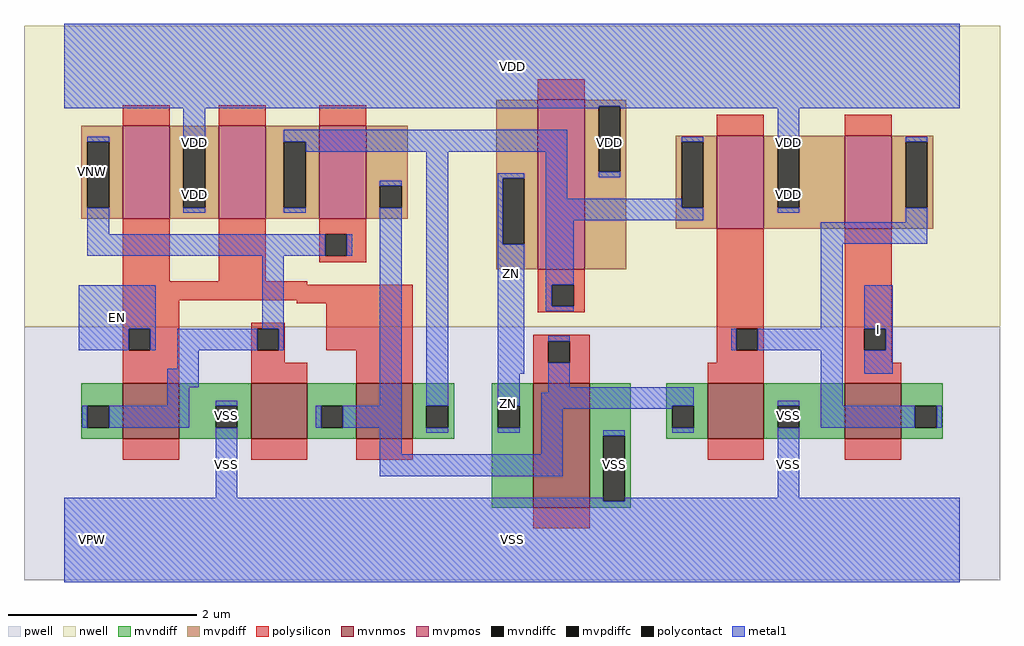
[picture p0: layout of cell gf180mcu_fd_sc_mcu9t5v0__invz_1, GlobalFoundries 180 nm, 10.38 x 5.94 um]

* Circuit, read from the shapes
.subckt gf180mcu_fd_sc_mcu9t5v0__invz_1 EN I ZN VDD VNW VPW VSS
XM1 VSS EN n1 VPW nfet_06v0 w=0.59u l=0.6u
XM2 n2 n1 VSS VPW nfet_06v0 w=0.59u l=0.6u
XM3 n3 EN n2 VPW nfet_06v0 w=0.59u l=0.6u
XM4 VSS n2 ZN VPW nfet_06v0 w=1.32u l=0.6u
XM5 VSS n4 n2 VPW nfet_06v0 w=0.59u l=0.6u
XM6 n4 I VSS VPW nfet_06v0 w=0.59u l=0.6u
XM7 VDD EN n1 VNW pfet_06v0 w=0.99u l=0.5u
XM8 n3 EN VDD VNW pfet_06v0 w=0.99u l=0.5u
XM9 n2 n1 n3 VNW pfet_06v0 w=0.99u l=0.5u
XM10 VDD n3 ZN VNW pfet_06v0 w=1.8u l=0.5u
XM11 VDD n4 n3 VNW pfet_06v0 w=0.99u l=0.5u
XM12 n4 I VDD VNW pfet_06v0 w=0.99u l=0.5u
.ends

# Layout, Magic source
magic
tech gf180mcuD
magscale 1 10
<< nwell >>
rect -86 453 1990 1094
<< pwell >>
rect -86 -86 1990 453
<< mvnmos >>
rect 124 215 244 333
rect 397 215 517 333
rect 621 215 741 333
rect 997 69 1117 333
rect 1368 215 1488 333
rect 1660 215 1780 333
<< mvpmos >>
rect 124 683 224 881
rect 328 683 428 881
rect 542 683 642 881
rect 1007 576 1107 936
rect 1388 662 1488 860
rect 1660 662 1760 860
<< mvndiff >>
rect 36 285 124 333
rect 36 239 49 285
rect 95 239 124 285
rect 36 215 124 239
rect 244 285 397 333
rect 244 239 322 285
rect 368 239 397 285
rect 244 215 397 239
rect 517 285 621 333
rect 517 239 546 285
rect 592 239 621 285
rect 517 215 621 239
rect 741 285 829 333
rect 741 239 770 285
rect 816 239 829 285
rect 741 215 829 239
rect 909 285 997 333
rect 909 239 922 285
rect 968 239 997 285
rect 909 69 997 239
rect 1117 222 1205 333
rect 1117 82 1146 222
rect 1192 82 1205 222
rect 1280 285 1368 333
rect 1280 239 1293 285
rect 1339 239 1368 285
rect 1280 215 1368 239
rect 1488 285 1660 333
rect 1488 239 1517 285
rect 1563 239 1660 285
rect 1488 215 1660 239
rect 1780 285 1868 333
rect 1780 239 1809 285
rect 1855 239 1868 285
rect 1780 215 1868 239
rect 1117 69 1205 82
<< mvpdiff >>
rect 36 847 124 881
rect 36 707 49 847
rect 95 707 124 847
rect 36 683 124 707
rect 224 847 328 881
rect 224 707 253 847
rect 299 707 328 847
rect 224 683 328 707
rect 428 847 542 881
rect 428 707 467 847
rect 513 707 542 847
rect 428 683 542 707
rect 642 753 730 881
rect 642 707 671 753
rect 717 707 730 753
rect 642 683 730 707
rect 919 769 1007 936
rect 919 629 932 769
rect 978 629 1007 769
rect 919 576 1007 629
rect 1107 923 1195 936
rect 1107 783 1136 923
rect 1182 783 1195 923
rect 1107 576 1195 783
rect 1300 847 1388 860
rect 1300 707 1313 847
rect 1359 707 1388 847
rect 1300 662 1388 707
rect 1488 847 1660 860
rect 1488 707 1517 847
rect 1563 707 1660 847
rect 1488 662 1660 707
rect 1760 847 1848 860
rect 1760 707 1789 847
rect 1835 707 1848 847
rect 1760 662 1848 707
<< mvndiffc >>
rect 49 239 95 285
rect 322 239 368 285
rect 546 239 592 285
rect 770 239 816 285
rect 922 239 968 285
rect 1146 82 1192 222
rect 1293 239 1339 285
rect 1517 239 1563 285
rect 1809 239 1855 285
<< mvpdiffc >>
rect 49 707 95 847
rect 253 707 299 847
rect 467 707 513 847
rect 671 707 717 753
rect 932 629 978 769
rect 1136 783 1182 923
rect 1313 707 1359 847
rect 1517 707 1563 847
rect 1789 707 1835 847
<< polysilicon >>
rect 1007 936 1107 980
rect 124 881 224 925
rect 328 881 428 925
rect 542 881 642 925
rect 124 550 224 683
rect 328 550 428 683
rect 542 650 642 683
rect 542 604 555 650
rect 601 604 642 650
rect 542 591 642 604
rect 1388 860 1488 904
rect 1660 860 1760 904
rect 124 543 517 550
rect 1007 543 1107 576
rect 124 510 741 543
rect 124 449 244 510
rect 494 503 741 510
rect 124 403 137 449
rect 183 403 244 449
rect 124 333 244 403
rect 397 449 469 462
rect 397 403 410 449
rect 456 403 469 449
rect 557 404 741 503
rect 1007 497 1037 543
rect 1083 497 1107 543
rect 1007 484 1107 497
rect 1388 449 1488 662
rect 397 377 469 403
rect 397 333 517 377
rect 621 333 741 404
rect 997 423 1117 436
rect 997 377 1029 423
rect 1075 377 1117 423
rect 1388 403 1429 449
rect 1475 403 1488 449
rect 1388 377 1488 403
rect 997 333 1117 377
rect 1368 333 1488 377
rect 1660 449 1760 662
rect 1660 403 1701 449
rect 1747 403 1760 449
rect 1660 377 1760 403
rect 1660 333 1780 377
rect 124 171 244 215
rect 397 171 517 215
rect 621 171 741 215
rect 1368 171 1488 215
rect 1660 171 1780 215
rect 997 25 1117 69
<< polycontact >>
rect 555 604 601 650
rect 137 403 183 449
rect 410 403 456 449
rect 1037 497 1083 543
rect 1029 377 1075 423
rect 1429 403 1475 449
rect 1701 403 1747 449
<< metal1 >>
rect 0 923 1904 1098
rect 0 918 1136 923
rect 49 847 95 858
rect 49 650 95 707
rect 253 847 299 918
rect 253 696 299 707
rect 467 847 1070 872
rect 513 826 1070 847
rect 467 696 513 707
rect 671 753 717 764
rect 49 604 555 650
rect 601 604 612 650
rect 30 449 194 542
rect 421 449 467 604
rect 30 403 137 449
rect 183 403 194 449
rect 240 403 410 449
rect 456 403 467 449
rect 240 364 286 403
rect 219 325 286 364
rect 219 285 265 325
rect 38 239 49 285
rect 95 239 265 285
rect 322 285 368 296
rect 671 285 717 707
rect 535 239 546 285
rect 592 239 717 285
rect 322 90 368 239
rect 671 182 717 239
rect 770 285 816 826
rect 770 228 816 239
rect 922 769 978 780
rect 922 629 932 769
rect 922 354 978 629
rect 1024 726 1070 826
rect 1182 918 1904 923
rect 1136 772 1182 783
rect 1313 847 1359 858
rect 1024 707 1313 726
rect 1024 680 1359 707
rect 1517 847 1563 918
rect 1517 696 1563 707
rect 1789 847 1835 858
rect 1024 543 1083 680
rect 1789 676 1835 707
rect 1024 497 1037 543
rect 1024 486 1083 497
rect 1609 630 1835 676
rect 1609 449 1655 630
rect 1029 423 1075 434
rect 1418 403 1429 449
rect 1475 403 1655 449
rect 922 285 968 354
rect 1029 325 1075 377
rect 1029 313 1339 325
rect 922 228 968 239
rect 1014 285 1339 313
rect 1014 279 1293 285
rect 1014 182 1060 279
rect 671 136 1060 182
rect 1146 222 1192 233
rect 1293 228 1339 239
rect 1517 285 1563 296
rect 1609 285 1655 403
rect 1701 449 1762 542
rect 1747 403 1762 449
rect 1701 354 1762 403
rect 1609 239 1809 285
rect 1855 239 1866 285
rect 0 82 1146 90
rect 1517 90 1563 239
rect 1192 82 1904 90
rect 0 -90 1904 82
<< labels >>
flabel metal1 s 30 403 194 542 0 FreeSans 200 0 0 0 EN
port 1 nsew default input
flabel metal1 s 1701 354 1762 542 0 FreeSans 200 0 0 0 I
port 2 nsew default input
flabel metal1 s 0 918 1904 1098 0 FreeSans 200 0 0 0 VDD
port 4 nsew power bidirectional abutment
flabel metal1 s 1517 233 1563 296 0 FreeSans 200 0 0 0 VSS
port 7 nsew ground bidirectional abutment
flabel metal1 s 922 354 978 780 0 FreeSans 200 0 0 0 ZN
port 3 nsew default output
flabel nwell s 10 734 110 834 0 FreeSans 400 0 0 0 VNW
port 5 nsew power bidirectional
flabel pwell s 10 -50 110 50 0 FreeSans 400 0 0 0 VPW
port 6 nsew ground bidirectional
rlabel metal1 s 922 228 968 354 1 ZN
port 3 nsew default output
rlabel metal1 s 1517 772 1563 918 1 VDD
port 4 nsew power bidirectional abutment
rlabel metal1 s 1136 772 1182 918 1 VDD
port 4 nsew power bidirectional abutment
rlabel metal1 s 253 772 299 918 1 VDD
port 4 nsew power bidirectional abutment
rlabel metal1 s 1517 696 1563 772 1 VDD
port 4 nsew power bidirectional abutment
rlabel metal1 s 253 696 299 772 1 VDD
port 4 nsew power bidirectional abutment
rlabel metal1 s 322 233 368 296 1 VSS
port 7 nsew ground bidirectional abutment
rlabel metal1 s 1517 90 1563 233 1 VSS
port 7 nsew ground bidirectional abutment
rlabel metal1 s 1146 90 1192 233 1 VSS
port 7 nsew ground bidirectional abutment
rlabel metal1 s 322 90 368 233 1 VSS
port 7 nsew ground bidirectional abutment
rlabel metal1 s 0 -90 1904 90 1 VSS
port 7 nsew ground bidirectional abutment
<< properties >>
string FIXED_BBOX 0 0 1904 1008
string GDS_END 923630
string GDS_FILE $PDKPATH/libs.ref/gf180mcu_fd_sc_mcu9t5v0/gds/gf180mcu_fd_sc_mcu9t5v0.gds
string GDS_START 917994
string LEFclass core
string LEFsite GF018hv5v_green_sc9
string LEFsymmetry X Y
<< end >>
